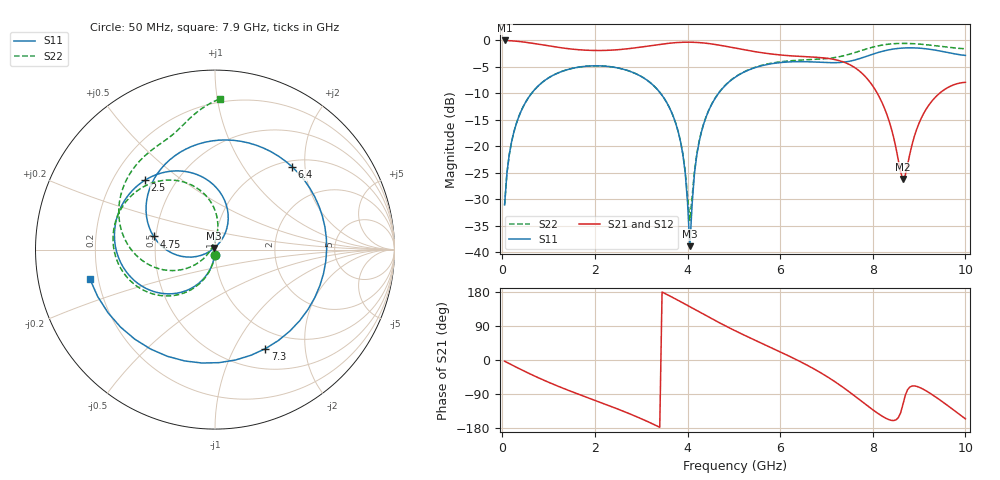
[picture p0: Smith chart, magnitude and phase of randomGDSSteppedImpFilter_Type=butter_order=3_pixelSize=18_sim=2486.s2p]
! freq	dB(S11)	phase(S11)	dB(S12)	phase(S12)
!  dB(S21)	phase(S21)	dB(S22)	phase(S22)
!S-par simulation data
#  GHz  S  DB  R 50
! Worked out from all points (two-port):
!   200 points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, 50 MHz to 10 GHz, reference 50 ohm
!   highest |S21| = -0.01 dB at 50 MHz (marker M1); lowest = -26.2 dB at 8.65 GHz (marker M2)
!   |S21| within 3 dB of the highest: start of sweep to 6.408 GHz
!   lowest |S11| = -38.9 dB at 4.05 GHz (marker M3), VSWR 1.02, Z = 49.3 + j0.879 ohm
!   |S11| at or under -10 dB: start of sweep to 632.8 MHz; 3.417 GHz to 4.67 GHz (1.253 GHz wide, 31 % of centre)
!   |S22| runs from -34.0 to -0.6 dB; largest |S21 - S12| = 0
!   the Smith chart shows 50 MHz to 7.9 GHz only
!   S11 on the Smith chart (normalised r, x): 50 MHz: 1.00, -0.06; 2.5 GHz: 0.34, +0.37; 4.75 GHz: 0.49, +0.08; 6.4 GHz: 1.12, +1.72; 7.3 GHz: 0.75, -1.34; 7.9 GHz: 0.17, -0.11
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0.05  -31.09 -93.5  -0.01 -3.2  -0.01 -3.2  -31.09 -93.3
0.2  -19.18 -103.5  -0.07 -12.6  -0.07 -12.6  -19.18 -102.8
0.5  -11.73 -122.3  -0.35 -30.9  -0.35 -30.9  -11.73 -120.6
1.75  -4.93 171.3  -1.82 -95.1  -1.82 -95.1  -4.93 177.6
2.5  -5.21 135.1  -1.75 -129.7  -1.75 -129.7  -5.20 145.1
3.4  -9.80 85.4  -0.75 -177.6  -0.75 -177.6  -9.79 101.9
3.85  -19.19 58.4  -0.36 153.9  -0.36 153.9  -19.10 82.1
4.05  -38.88 128.4  -0.33 140.6  -0.33 140.6  -34.00 150.1
4.25  -19.20 -159.5  -0.41 127.1  -0.41 127.1  -19.06 -141.6
4.75  -9.12 167.9  -0.99 94.3  -0.99 94.3  -9.08 -163.8
5.05  -6.83 147.4  -1.48 75.9  -1.48 75.9  -6.78 -178.6
5.8  -4.42 95.4  -2.56 32.8  -2.56 32.8  -4.32 149.3
6.4  -4.01 47.0  -3.00 -2.2  -3.00 -2.2  -3.74 128.7
6.7  -4.06 17.2  -3.14 -21.5  -3.14 -21.5  -3.61 120.1
7.3  -4.16 -63.0  -3.88 -67.1  -3.88 -67.1  -3.04 106.1
7.6  -3.73 -114.0  -5.07 -94.0  -5.07 -94.0  -2.33 98.4
7.9  -2.90 -167.0  -7.45 -122.2  -7.45 -122.2  -1.51 88.1
8.35  -1.77 119.6  -15.16 -157.5  -15.16 -157.5  -0.70 68.4
8.65  -1.44 75.5  -26.20 -117.7  -26.20 -117.7  -0.56 54.5
9.25  -1.70 -9.8  -11.76 -88.8  -11.76 -88.8  -0.90 28.4
9.65  -2.34 -70.5  -8.77 -123.2  -8.77 -123.2  -1.32 13.3
10  -2.83 -127.0  -7.92 -155.3  -7.92 -155.3  -1.58 1.3
